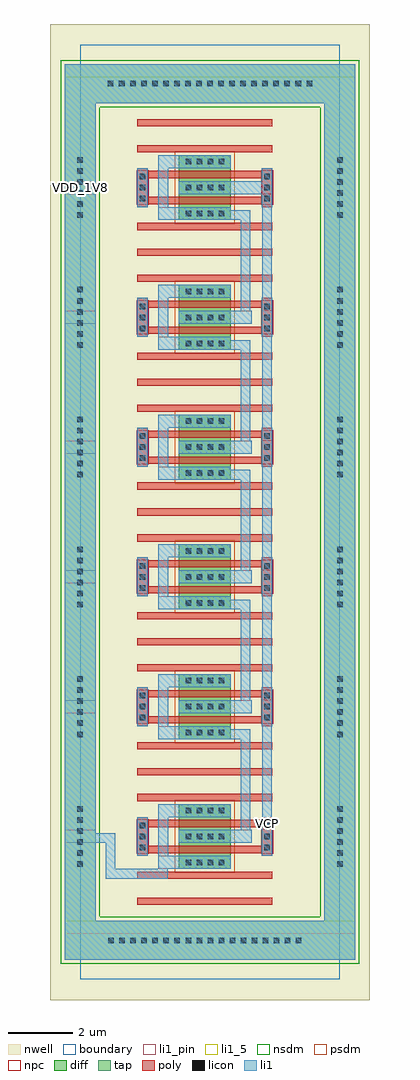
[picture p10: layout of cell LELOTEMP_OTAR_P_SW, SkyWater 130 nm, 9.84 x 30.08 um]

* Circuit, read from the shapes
.subckt LELOTEMP_OTAR_P_SW VCP VDD_1V8
XM1 REYATR_PCH_4C1F2_7/D VCP VDD_1V8 VDD_1V8 sky130_fd_pr__pfet_01v8 w=1.6 l=0.22 m=2
XM2 REYATR_PCH_4C1F2_6/D VCP REYATR_PCH_4C1F2_7/D VDD_1V8 sky130_fd_pr__pfet_01v8 w=1.6 l=0.22 m=2
XM3 REYATR_PCH_4C1F2_5/D VCP REYATR_PCH_4C1F2_6/D VDD_1V8 sky130_fd_pr__pfet_01v8 w=1.6 l=0.22 m=2
XM4 REYATR_PCH_4C1F2_4/D VCP REYATR_PCH_4C1F2_5/D VDD_1V8 sky130_fd_pr__pfet_01v8 w=1.6 l=0.22 m=2
XM5 REYATR_PCH_4C1F2_3/D VCP REYATR_PCH_4C1F2_4/D VDD_1V8 sky130_fd_pr__pfet_01v8 w=1.6 l=0.22 m=2
XM6 VCP VCP REYATR_PCH_4C1F2_3/D VDD_1V8 sky130_fd_pr__pfet_01v8 w=1.6 l=0.22 m=2
.ends

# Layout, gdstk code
import gdstk
lib = gdstk.Library(unit=1e-6, precision=1e-09)
def R(c, l, rs):  # rectangles x0, y0, x1, y1
    for r in rs: c.add(gdstk.rectangle(r[:2], r[2:], *l))
def A(c, l, x, y, w, h, nx, ny, dx, dy):  # array of equal rectangles
    R(c, l, [(x+i*dx, y+j*dy, x+i*dx+w, y+j*dy+h) for i in range(nx) for j in range(ny)])
nwell = (64, 20)
diff = (65, 20)
tap = (65, 44)
poly = (66, 20)
licon = (66, 44)
li1_5 = (67, 5)
li1_pin = (67, 16)
li1 = (67, 20)
nsdm = (93, 44)
psdm = (94, 20)
npc = (95, 20)
boundary = (235, 4)

reyatr_pch_4c1f2d = lib.new_cell('REYATR_PCH_4C1F2D')
R(reyatr_pch_4c1f2d, nwell, [(-0.92,-0.64,8.92,4.64)])
R(reyatr_pch_4c1f2d, diff, [(3.04,1,4.64,3)])
R(reyatr_pch_4c1f2d, tap, [(-0.48,-0.2,0.48,4.2), (7.52,-0.2,8.48,4.2)])
A(reyatr_pch_4c1f2d, poly, 1.76, -0.11, 4.16, 0.22, 1, 6, 0, 0.8)
R(reyatr_pch_4c1f2d, poly, [(1.76,1.4,2.08,1.49), (5.6,1.4,5.92,1.49), (1.76,1.71,2.08,2.29), (5.6,1.71,5.92,2.29), (1.76,2.51,2.08,2.6), (5.6,2.51,5.92,2.6)])
A(reyatr_pch_4c1f2d, licon, -0.085, 1.065, 0.17, 0.17, 1, 6, 0, 0.34)
A(reyatr_pch_4c1f2d, licon, 7.915, 1.065, 0.17, 0.17, 1, 6, 0, 0.34)
A(reyatr_pch_4c1f2d, licon, 3.245, 1.115, 0.17, 0.17, 4, 3, 0.34, 0.8)
A(reyatr_pch_4c1f2d, licon, 1.835, 1.575, 0.17, 0.17, 1, 3, 0, 0.34)
A(reyatr_pch_4c1f2d, licon, 5.675, 1.575, 0.17, 0.17, 1, 3, 0, 0.34)
R(reyatr_pch_4c1f2d, li1_pin, [(2.4,1,4.64,1.4), (-0.48,1.8,0.48,2.2), (3.04,1.8,5.92,2.2), (5.6,2.2,5.92,2.6)])
R(reyatr_pch_4c1f2d, li1, [(-0.48,-0.2,0.48,4.2), (7.52,-0.2,8.48,4.2), (2.4,1,4.64,1.4), (1.76,1.4,2.08,2.6), (2.4,1.4,2.72,2.6), (5.6,1.4,5.92,1.8), (3.04,1.8,5.92,2.2), (5.6,2.2,5.92,2.6), (2.4,2.6,4.64,3)])
R(reyatr_pch_4c1f2d, nsdm, [(-0.605,-0.325,0.605,4.325), (7.395,-0.325,8.605,4.325)])
R(reyatr_pch_4c1f2d, psdm, [(2.915,0.875,4.765,3.125)])
R(reyatr_pch_4c1f2d, npc, [(1.735,1.475,2.105,2.525), (5.575,1.475,5.945,2.525)])
R(reyatr_pch_4c1f2d, boundary, [(0,0,8,4)])
reyatr_pch_4c1f2d.add(gdstk.Label('D', (4.48,2), layer=67, texttype=5))
reyatr_pch_4c1f2d.add(gdstk.Label('G', (5.76,2.4), layer=67, texttype=5))
reyatr_pch_4c1f2d.add(gdstk.Label('S', (3.52,1.2), layer=67, texttype=5))
reyatr_pch_4c1f2d.add(gdstk.Label('B', (0,2), layer=67, texttype=5))

reyatr_pch_4ctaptop = lib.new_cell('REYATR_PCH_4CTAPTOP')
R(reyatr_pch_4ctaptop, nwell, [(-0.92,-0.64,8.92,3.04)])
R(reyatr_pch_4ctaptop, tap, [(-0.48,-0.2,0.48,0.6), (7.52,-0.2,8.48,0.6), (-0.48,0.6,8.48,1.8)])
A(reyatr_pch_4ctaptop, licon, 0.855, 1.115, 0.17, 0.17, 19, 1, 0.34, 0)
R(reyatr_pch_4ctaptop, li1_5, [(-0.48,1.4,8.48,1.8)])
R(reyatr_pch_4ctaptop, li1, [(-0.48,-0.2,0.48,0.6), (7.52,-0.2,8.48,0.6), (-0.48,0.6,8.48,1.8)])
R(reyatr_pch_4ctaptop, nsdm, [(-0.605,-0.325,0.605,0.475), (7.395,-0.325,8.605,0.475), (-0.605,0.475,8.605,1.925)])
R(reyatr_pch_4ctaptop, boundary, [(0,0,8,2.4)])
reyatr_pch_4ctaptop.add(gdstk.Label('B', (4,1.6), layer=67, texttype=5))

reyatr_pch_4ctapbot = lib.new_cell('REYATR_PCH_4CTAPBOT')
R(reyatr_pch_4ctapbot, nwell, [(-0.92,-0.64,8.92,3.04)])
R(reyatr_pch_4ctapbot, tap, [(-0.48,0.6,8.48,1.8), (-0.48,1.8,0.48,2.6), (7.52,1.8,8.48,2.6)])
A(reyatr_pch_4ctapbot, licon, 0.865, 1.115, 0.17, 0.17, 18, 1, 0.34, 0)
R(reyatr_pch_4ctapbot, li1_5, [(-0.48,1.4,8.48,1.8)])
R(reyatr_pch_4ctapbot, li1, [(-0.48,0.6,8.48,1.8), (-0.48,1.8,0.48,2.6), (7.52,1.8,8.48,2.6)])
R(reyatr_pch_4ctapbot, nsdm, [(-0.605,0.475,8.605,1.925), (-0.605,1.925,0.605,2.725), (7.395,1.925,8.605,2.725)])
R(reyatr_pch_4ctapbot, boundary, [(0,0,8,2.4)])
reyatr_pch_4ctapbot.add(gdstk.Label('B', (4,1.6), layer=67, texttype=5))

reyatr_pch_4c1f2 = lib.new_cell('REYATR_PCH_4C1F2')
R(reyatr_pch_4c1f2, nwell, [(-0.92,-0.64,8.92,4.64)])
R(reyatr_pch_4c1f2, diff, [(3.04,1,4.64,3)])
R(reyatr_pch_4c1f2, tap, [(-0.48,-0.2,0.48,4.2), (7.52,-0.2,8.48,4.2)])
A(reyatr_pch_4c1f2, poly, 1.76, -0.11, 4.16, 0.22, 1, 6, 0, 0.8)
R(reyatr_pch_4c1f2, poly, [(1.76,1.4,2.08,1.49), (5.6,1.4,5.92,1.49), (1.76,1.71,2.08,2.29), (5.6,1.71,5.92,2.29), (1.76,2.51,2.08,2.6), (5.6,2.51,5.92,2.6)])
A(reyatr_pch_4c1f2, licon, -0.085, 1.065, 0.17, 0.17, 1, 6, 0, 0.34)
A(reyatr_pch_4c1f2, licon, 7.915, 1.065, 0.17, 0.17, 1, 6, 0, 0.34)
A(reyatr_pch_4c1f2, licon, 3.245, 1.115, 0.17, 0.17, 4, 3, 0.34, 0.8)
A(reyatr_pch_4c1f2, licon, 1.835, 1.575, 0.17, 0.17, 1, 3, 0, 0.34)
A(reyatr_pch_4c1f2, licon, 5.675, 1.575, 0.17, 0.17, 1, 3, 0, 0.34)
R(reyatr_pch_4c1f2, li1_pin, [(2.4,1,4.64,1.4), (-0.48,1.8,0.48,2.2), (3.04,1.8,5.28,2.2), (5.6,2.2,5.92,2.6)])
R(reyatr_pch_4c1f2, li1, [(-0.48,-0.2,0.48,4.2), (7.52,-0.2,8.48,4.2), (2.4,1,4.64,1.4), (1.76,1.4,2.08,2.6), (2.4,1.4,2.72,2.6), (5.6,1.4,5.92,2.6), (3.04,1.8,5.28,2.2), (2.4,2.6,4.64,3)])
R(reyatr_pch_4c1f2, nsdm, [(-0.605,-0.325,0.605,4.325), (7.395,-0.325,8.605,4.325)])
R(reyatr_pch_4c1f2, psdm, [(2.915,0.875,4.765,3.125)])
R(reyatr_pch_4c1f2, npc, [(1.735,1.475,2.105,2.525), (5.575,1.475,5.945,2.525)])
R(reyatr_pch_4c1f2, boundary, [(0,0,8,4)])
reyatr_pch_4c1f2.add(gdstk.Label('D', (4.16,2), layer=67, texttype=5))
reyatr_pch_4c1f2.add(gdstk.Label('G', (5.76,2.4), layer=67, texttype=5))
reyatr_pch_4c1f2.add(gdstk.Label('S', (3.52,1.2), layer=67, texttype=5))
reyatr_pch_4c1f2.add(gdstk.Label('B', (0,2), layer=67, texttype=5))

lelotemp_otar_p_sw = lib.new_cell('LELOTEMP_OTAR_P_SW')
R(lelotemp_otar_p_sw, li1_pin, [(5.6,4.6,5.92,5), (-0.48,24.2,0.48,24.6)])
A(lelotemp_otar_p_sw, li1, 4.16, 4.2, 1.08, 0.3, 1, 5, 0, 4)
A(lelotemp_otar_p_sw, li1, 4.94, 4.5, 0.3, 2.9, 1, 5, 0, 4)
A(lelotemp_otar_p_sw, li1, 3.52, 7.4, 1.72, 0.3, 1, 5, 0, 4)
R(lelotemp_otar_p_sw, li1, [(0.78,3.1,2.7,3.4), (0.78,3.4,1.08,4.2), (2.4,3.4,3.52,3.7), (0,4.2,1.08,4.5), (5.6,4.6,5.92,5), (5.61,5,5.91,24.8), (-0.48,24.2,0.48,24.6)])
R(lelotemp_otar_p_sw, boundary, [(0,0,8,28.8)])
lelotemp_otar_p_sw.add(gdstk.Reference(reyatr_pch_4c1f2d, (0,22.4)))
lelotemp_otar_p_sw.add(gdstk.Reference(reyatr_pch_4ctaptop, (0,26.4)))
lelotemp_otar_p_sw.add(gdstk.Reference(reyatr_pch_4ctapbot, (0,0)))
lelotemp_otar_p_sw.add(gdstk.Reference(reyatr_pch_4c1f2, (0,18.4)))
lelotemp_otar_p_sw.add(gdstk.Reference(reyatr_pch_4c1f2, (0,14.4)))
lelotemp_otar_p_sw.add(gdstk.Reference(reyatr_pch_4c1f2, (0,10.4)))
lelotemp_otar_p_sw.add(gdstk.Reference(reyatr_pch_4c1f2, (0,6.4)))
lelotemp_otar_p_sw.add(gdstk.Reference(reyatr_pch_4c1f2, (0,2.4)))
lelotemp_otar_p_sw.add(gdstk.Label('VCP', (5.76,4.8), layer=67, texttype=5))
lelotemp_otar_p_sw.add(gdstk.Label('VDD_1V8', (0,24.4), layer=67, texttype=5))

lib.write_gds('LELOTEMP_OTAR_P_SW.gds')
